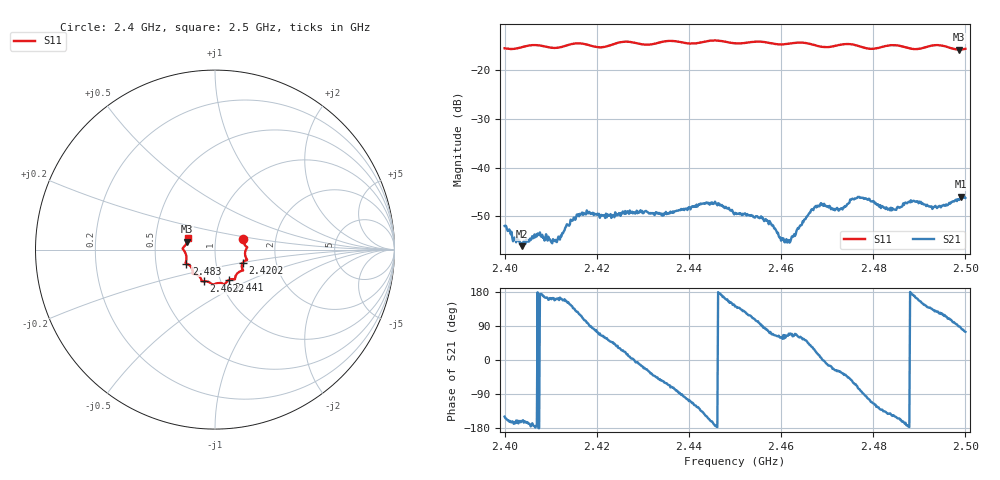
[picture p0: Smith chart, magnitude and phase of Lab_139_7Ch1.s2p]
# Hz S RI R 50
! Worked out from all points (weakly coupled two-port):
!   601 points, 2.4 GHz to 2.5 GHz, reference 50 ohm
!   highest |S21| = -45.96 dB at 2.499 GHz (marker M1); lowest = -56.1 dB at 2.4037 GHz (marker M2)
!   lowest |S11| = -15.8 dB at 2.4987 GHz (marker M3), VSWR 1.39, Z = 36.4 + j3.33 ohm
!   |S11| at or under -10 dB: start of sweep to end of sweep
!   S12 and S22 are empty: the file has one direction only
!   S11 on the Smith chart (normalised r, x): 2.4 GHz: 1.36, +0.17; 2.4202 GHz: 1.35, -0.20; 2.441 GHz: 1.09, -0.39; 2.4622 GHz: 0.83, -0.30; 2.483 GHz: 0.72, -0.12; 2.5 GHz: 0.73, +0.09
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2.4e9  0.1559 0.0599  -0.00217 -0.00129  0 0  0 0
2.403667e9  0.1696 0.0215  -0.00149 -0.000478  0 0  0 0
2.407333e9  0.1787 0.011  -0.00209 -1.63e-05  0 0  0 0
2.4115e9  0.1673 -0.0249  -0.00175 0.00061  0 0  0 0
2.416667e9  0.1778 -0.0582  -0.00148 0.00303  0 0  0 0
2.420167e9  0.1557 -0.072  0.000931 0.00325  0 0  0 0
2.433333e9  0.1129 -0.1526  0.00218 -0.00257  0 0  0 0
2.441e9  0.0766 -0.1703  -0.00173 -0.00356  0 0  0 0
2.446e9  0.0518 -0.1938  -0.00423 -0.000272  0 0  0 0
2.45e9  0.0262 -0.1862  -0.00268 0.00216  0 0  0 0
2.456167e9  -0.0143 -0.1935  0.000267 0.00293  0 0  0 0
2.460333e9  -0.0463 -0.1771  0.00103 0.00151  0 0  0 0
2.462167e9  -0.0633 -0.1764  0.00071 0.00172  0 0  0 0
2.466667e9  -0.0764 -0.1669  0.00309 0.00212  0 0  0 0
2.469e9  -0.0879 -0.1485  0.00424 -7.09e-07  0 0  0 0
2.472833e9  -0.12 -0.1363  0.00323 -0.0019  0 0  0 0
2.477e9  -0.1247 -0.1231  0.00113 -0.00489  0 0  0 0
2.483e9  -0.1595 -0.078  -0.00294 -0.00246  0 0  0 0
2.483333e9  -0.161 -0.0773  -0.00297 -0.00234  0 0  0 0
2.498667e9  -0.1554 0.0446  0.000105 0.00467  0 0  0 0
2.499e9  -0.1545 0.0492  0.000462 0.00501  0 0  0 0
2.5e9  -0.1527 0.0632  0.00132 0.00471  0 0  0 0
